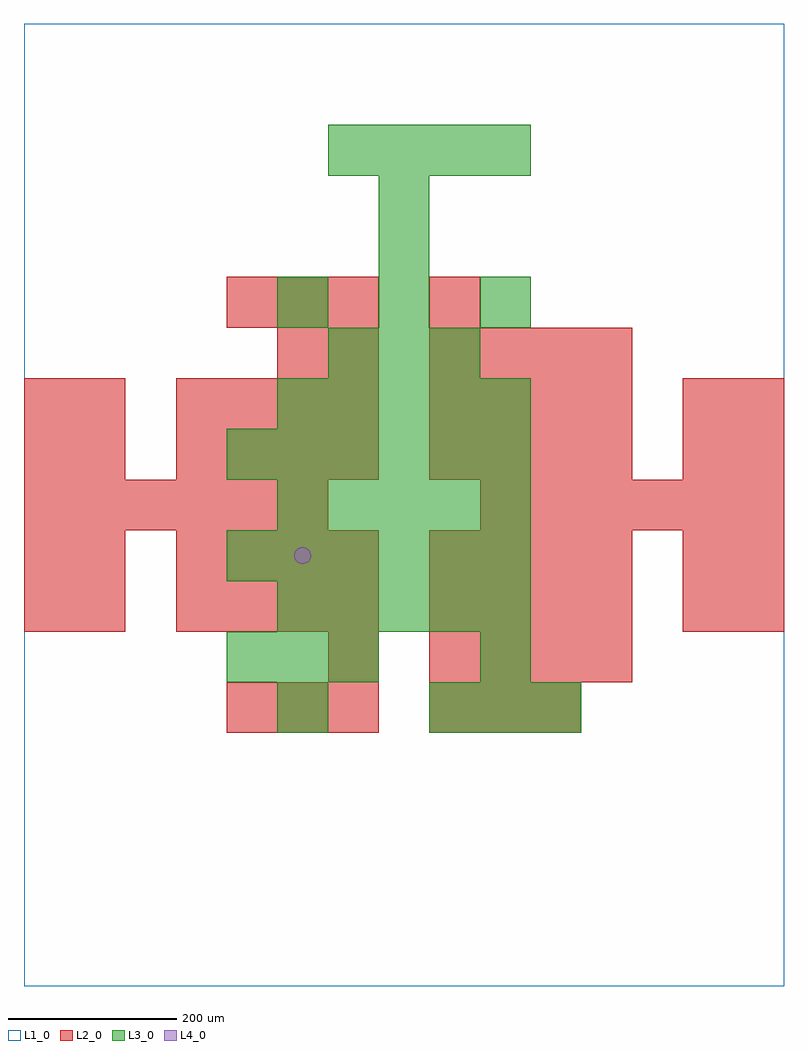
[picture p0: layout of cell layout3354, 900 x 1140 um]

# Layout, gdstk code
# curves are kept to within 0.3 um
import gdstk
lib = gdstk.Library(unit=1e-6, precision=1e-09)
def R(c, l, rs):  # rectangles x0, y0, x1, y1
    for r in rs: c.add(gdstk.rectangle(r[:2], r[2:], *l))
def A(c, l, x, y, w, h, nx, ny, dx, dy):  # array of equal rectangles
    R(c, l, [(x+i*dx, y+j*dy, x+i*dx+w, y+j*dy+h) for i in range(nx) for j in range(ny)])
def P(c, l, *ps):  # polygons
    for p in ps: c.add(gdstk.Polygon(p, *l))
L1_0 = (1, 0)
L2_0 = (2, 0)
L3_0 = (3, 0)
L4_0 = (4, 0)

layout3354 = lib.new_cell('layout3354')
R(layout3354, L1_0, [(0,0,900,1140)])
A(layout3354, L2_0, 240, 300, 60, 60, 3, 2, 60, 480)
A(layout3354, L2_0, 480, 300, 60, 60, 3, 1, 60, 0)
A(layout3354, L2_0, 480, 360, 60, 60, 4, 3, 60, 60)
A(layout3354, L2_0, 180, 420, 60, 60, 4, 2, 60, 60)
A(layout3354, L2_0, 0, 540, 60, 60, 6, 1, 60, 0)
A(layout3354, L2_0, 540, 540, 60, 60, 6, 1, 60, 0)
A(layout3354, L2_0, 180, 600, 60, 60, 4, 2, 60, 60)
A(layout3354, L2_0, 480, 600, 60, 60, 4, 3, 60, 60)
R(layout3354, L2_0, [(360,360,420,420), (0,420,60,480), (60,420,120,480), (780,420,840,480), (840,420,900,480), (0,480,60,540), (60,480,120,540), (780,480,840,540), (840,480,900,540), (0,600,60,660), (60,600,120,660), (780,600,840,660), (840,600,900,660), (0,660,60,720), (60,660,120,720), (780,660,840,720), (840,660,900,720), (300,720,360,780), (360,720,420,780), (480,780,540,840)])
A(layout3354, L3_0, 480, 300, 60, 60, 3, 1, 60, 0)
A(layout3354, L3_0, 240, 360, 60, 60, 3, 1, 60, 0)
A(layout3354, L3_0, 300, 420, 60, 60, 5, 3, 60, 120)
A(layout3354, L3_0, 240, 480, 60, 60, 6, 2, 60, 120)
A(layout3354, L3_0, 360, 720, 60, 60, 3, 1, 60, 0)
A(layout3354, L3_0, 300, 780, 60, 60, 3, 1, 120, 0)
A(layout3354, L3_0, 360, 960, 60, 60, 4, 1, 60, 0)
R(layout3354, L3_0, [(300,300,360,360), (540,360,600,420), (420,840,480,900), (420,900,480,960)])
P(layout3354, L4_0, [(340,510),(339.239,513.827),(337.071,517.071),(333.827,519.239),(330,520),(326.173,519.239),(322.929,517.071),(320.761,513.827),(320,510),(320.761,506.173),(322.929,502.929),(326.173,500.761),(330,500),(333.827,500.761),(337.071,502.929),(339.239,506.173)])

lib.write_gds('layout3354.gds')
